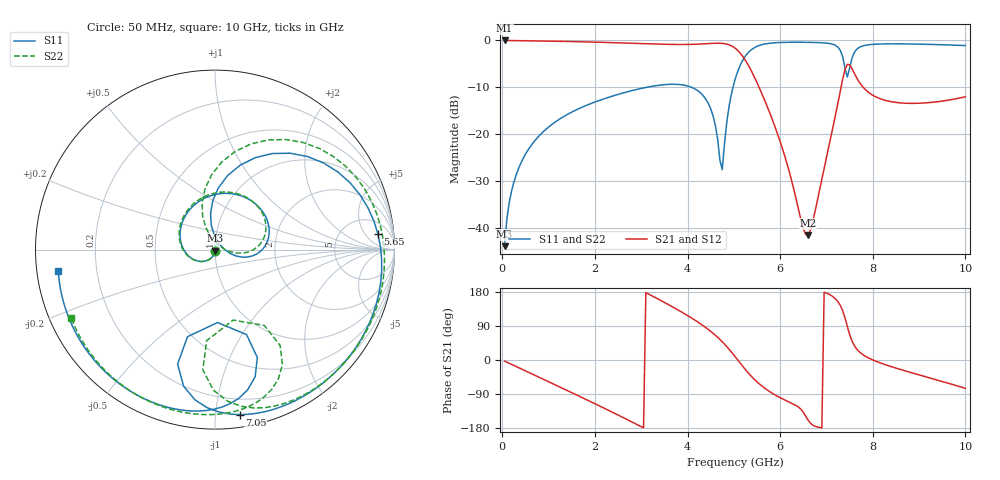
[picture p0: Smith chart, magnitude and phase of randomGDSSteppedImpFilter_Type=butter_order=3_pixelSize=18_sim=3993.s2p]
! freq	dB(S11)	phase(S11)	dB(S12)	phase(S12)
!  dB(S21)	phase(S21)	dB(S22)	phase(S22)
!S-par simulation data
#  GHz  S  DB  R 50
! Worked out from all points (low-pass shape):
!   200 points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, 50 MHz to 10 GHz, reference 50 ohm
!   highest |S21| = 0.00 dB at 50 MHz (marker M1); lowest = -41.6 dB at 6.6 GHz (marker M2)
!   |S21| within 3 dB of the highest: start of sweep to 5.161 GHz
!   lowest |S11| = -44.0 dB at 50 MHz (marker M3), VSWR 1.01, Z = 50 - j0.634 ohm
!   |S11| at or under -10 dB: start of sweep to 3.122 GHz; 4.082 GHz to 4.982 GHz (900.4 MHz wide, 19.9 % of centre)
!   |S22| runs from -43.9 to -0.4 dB; largest |S21 - S12| = 0
!   S11 on the Smith chart (normalised r, x): 50 MHz: 1.00, -0.01; 5.65 GHz: 11, +11; 7.05 GHz: 0.09, -1.16; 10 GHz: 0.06, -0.07
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0.05  -43.95 -92.0  -0.00 -2.9  -0.00 -2.9  -43.90 -90.8
0.2  -32.18 -100.8  -0.03 -11.5  -0.03 -11.5  -32.15 -100.7
0.5  -24.32 -119.3  -0.06 -28.7  -0.06 -28.7  -24.29 -118.6
1.15  -17.38 -157.7  -0.16 -66.0  -0.16 -66.0  -17.38 -156.1
1.75  -14.15 166.7  -0.29 -100.7  -0.29 -100.7  -14.15 169.7
2.65  -11.11 111.8  -0.55 -154.3  -0.55 -154.3  -11.11 117.5
3.4  -9.55 63.9  -0.80 158.6  -0.80 158.6  -9.55 71.9
4.4  -12.63 -6.0  -0.70 85.0  -0.70 85.0  -12.62 3.1
4.6  -18.10 -16.8  -0.60 65.4  -0.60 65.4  -18.16 -9.1
4.75  -27.59 58.6  -0.63 48.1  -0.63 48.1  -29.21 71.9
4.85  -17.26 98.7  -0.79 35.0  -0.79 35.0  -17.46 112.7
5.05  -7.58 80.4  -1.83 5.4  -1.83 5.4  -7.62 92.7
5.3  -2.72 45.1  -5.08 -32.5  -5.08 -32.5  -2.73 57.1
5.65  -0.80 5.4  -12.41 -72.9  -12.41 -72.9  -0.80 17.2
6.6  -0.40 -56.7  -41.63 -157.9  -41.63 -157.9  -0.38 -44.7
6.7  -0.42 -62.0  -38.86 -171.5  -38.86 -171.5  -0.40 -49.9
7.05  -0.63 -81.5  -22.66 173.8  -22.66 173.8  -0.61 -69.3
7.35  -3.47 -108.1  -8.28 130.0  -8.28 130.0  -3.44 -95.8
7.45  -7.82 -88.0  -5.11 88.6  -5.11 88.6  -7.84 -75.5
7.6  -2.59 -72.5  -7.01 38.3  -7.01 38.3  -2.57 -59.7
8.35  -0.73 -112.4  -12.99 -15.6  -12.99 -15.6  -0.69 -98.8
10  -1.10 -172.3  -12.05 -74.8  -12.05 -74.8  -1.04 -154.6
